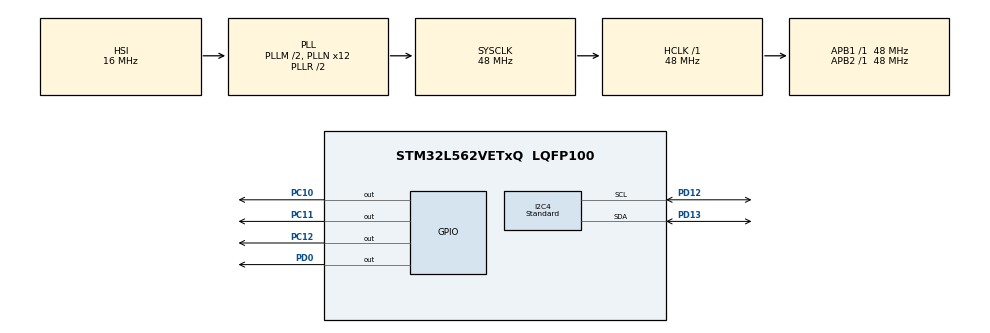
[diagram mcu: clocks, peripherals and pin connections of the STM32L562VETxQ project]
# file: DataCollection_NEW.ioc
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I2C4.I2C_Speed_Mode=I2C_Standard
I2C4.Timing=0x20303E5D
Mcu.Family=STM32L5
Mcu.Name=STM32L562VETxQ
Mcu.Package=LQFP100
NVIC.PriorityGroup=NVIC_PRIORITYGROUP_3
PA13\ (JTMS/SWDIO).Mode=Serial_Wire
PA13\ (JTMS/SWDIO).Signal=DEBUG_JTMS-SWDIO
PA14\ (JTCK/SWCLK).Mode=Serial_Wire
PA14\ (JTCK/SWCLK).Signal=DEBUG_JTCK-SWCLK
PC10.Signal=GPIO_Output
PC11.Signal=GPIO_Output
PC12.Signal=GPIO_Output
PD0.Signal=GPIO_Output
PD12.Mode=I2C
PD12.Signal=I2C4_SCL
PD13.Mode=I2C
PD13.Signal=I2C4_SDA
PH0-OSC_IN\ (PH0).Mode=HSE-External-Oscillator
PH0-OSC_IN\ (PH0).Signal=RCC_OSC_IN
PH1-OSC_OUT\ (PH1).Mode=HSE-External-Oscillator
PH1-OSC_OUT\ (PH1).Signal=RCC_OSC_OUT
ProjectManager.HeapSize=0x200
ProjectManager.StackSize=0x400
ProjectManager.TargetToolchain=STM32CubeIDE
RCC.ADCFreq_Value=64000000
RCC.AHBFreq_Value=48000000
RCC.APB1Freq_Value=48000000
RCC.APB1TimFreq_Value=48000000
RCC.APB2Freq_Value=48000000
RCC.APB2TimFreq_Value=48000000
RCC.CortexFreq_Value=48000000
RCC.HCLKFreq_Value=48000000
RCC.HSE_VALUE=32000000
RCC.HSI48_VALUE=48000000
RCC.HSI_VALUE=16000000
RCC.LSE_VALUE=32768
RCC.MSI_VALUE=4000000
RCC.PLLM=2
RCC.PLLN=12
RCC.PLLSAI1Source=RCC_PLLSAI1SOURCE_HSI
RCC.PLLSAI2Source=RCC_PLLSAI2SOURCE_HSI
RCC.PLLSourceVirtual=RCC_PLLSOURCE_HSI
RCC.SYSCLKFreq_VALUE=48000000
RCC.SYSCLKSource=RCC_SYSCLKSOURCE_PLLCLK
RCC.USBFreq_Value=64000000
RCC.VCOOutputFreq_Value=96000000
VP_PWR_VS_DBSignals.Mode=DisableDeadBatterySignals
VP_PWR_VS_SECSignals.Mode=Security/Privilege
board=custom

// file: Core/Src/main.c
/* USER CODE BEGIN Header */
/**
  ******************************************************************************
  * @file           : main.c
  * @brief          : Main program body
  ******************************************************************************
  * @attention
  *
  * Copyright (c) 2022 STMicroelectronics.
  * All rights reserved.
  *
  * This software is licensed under terms that can be found in the LICENSE file
  * in the root directory of this software component.
  * If no LICENSE file comes with this software, it is provided AS-IS.
  *
  ******************************************************************************
  */
/* USER CODE END Header */
#include "main.h"

 I2C_HandleTypeDef hi2c4;

void SystemClock_Config(void);
static void MX_GPIO_Init(void);
static void MX_I2C4_Init(void);

int main(void)
{
  /* USER CODE BEGIN 1 */

	HAL_StatusTypeDef i2c;
	const uint8_t MIC184_ADDR = 0x48 << 1;
	const uint8_t MIC184_CMD_REG = 0x01;
	const uint8_t MS5607_ADDR = 0x77 << 1;
	const uint8_t KX134_ADDR = 0x1E << 1;
	const uint8_t BNO055_ADDR = 0x28 << 1;

	uint8_t buf[1];
	uint8_t tmpBuf[3];
	uint8_t addr;
	uint8_t validAddr[20];
	uint8_t addrIndex = 0;

	/*
	HAL_StatusTypeDef i2c;
	uint8_t buf[1];
	const uint8_t BMP180_ADDR = 0x77 << 1; //7 bit addr?
	*/

  /* USER CODE END 1 */

  /* MCU Configuration--------------------------------------------------------*/

  /* Reset of all peripherals, Initializes the Flash interface and the Systick. */
  HAL_Init();

  /* Configure the system clock */
  SystemClock_Config();

  /* Initialize all configured peripherals */
  MX_GPIO_Init();
  MX_I2C4_Init();
  /* USER CODE BEGIN 2 */

  //Jank i2c scanner
  buf[0] = 0x00;
  i2c = HAL_I2C_Master_Transmit(&hi2c4, MIC184_ADDR, buf, 1, HAL_MAX_DELAY);
  i2c = HAL_I2C_Master_Transmit(&hi2c4, KX134_ADDR, buf, 1, HAL_MAX_DELAY);
  i2c = HAL_I2C_Master_Transmit(&hi2c4, BNO055_ADDR, buf, 1, HAL_MAX_DELAY);
  i2c = HAL_I2C_Master_Transmit(&hi2c4, MS5607_ADDR, buf, 1, HAL_MAX_DELAY);

  //initialize array to 0
  	  for (uint8_t i = 0; i < 20; i++){
  		  validAddr[i] = 0;
  	  }

  	  for (uint8_t i = 0; i < 127; i++){
  		  buf[0] = 0x00;
  		  uint8_t x = i << 1;
  		  i2c = HAL_I2C_Master_Transmit(&hi2c4, x, buf, 1, HAL_MAX_DELAY);
  		  HAL_Delay(1);
  		  if ((i2c != HAL_ERROR) && (addrIndex < 20)){
  			  validAddr[addrIndex] = i;
  			  addrIndex++;
  		  }
  	  }

  	  while (1){
  		;
  	  }

  /* USER CODE END 2 */

  /* Infinite loop */
  while (1)
  {

    /* USER CODE BEGIN 3 */

	  /*
	  HAL_GPIO_WritePin(GPIOC, GPIO_PIN_10, GPIO_PIN_SET);
	  //buf[0] = 0xD0;
	  //i2c = HAL_I2C_Master_Transmit(&hi2c4, BMP180_ADDR, buf, 1, HAL_MAX_DELAY);
	  //i2c = HAL_I2C_Master_Receive(&hi2c4, BMP180_ADDR, buf, 1, HAL_MAX_DELAY);

	  //send the command reg addr to the MIC184
	  tmpBuf[0] = 0x01;
	  i2c = HAL_I2C_Master_Transmit(&hi2c4, MIC184_ADDR, tmpBuf, 1, HAL_MAX_DELAY);
	  HAL_Delay(50);
	  i2c = HAL_I2C_Master_Receive(&hi2c4, MIC184_ADDR, tmpBuf, 2, HAL_MAX_DELAY);

	  //KX134-1211
	  //check WHOAMI register
	  tmpBuf[0] = 0x13;
	  i2c = HAL_I2C_Master_Transmit(&hi2c4, KX134_ADDR, tmpBuf, 1, HAL_MAX_DELAY);
	  i2c = HAL_I2C_Master_Receive(&hi2c4, KX134_ADDR, tmpBuf, 1, HAL_MAX_DELAY);

	  //MS5607
	  //reset the chip
	  tmpBuf[0] = 0x1E;
	  i2c = HAL_I2C_Master_Transmit(&hi2c4, MS5607_ADDR, tmpBuf, 1, HAL_MAX_DELAY);
	  HAL_Delay(50);
	  //start temp convert
	  tmpBuf[0] = 0x58;
	  i2c = HAL_I2C_Master_Transmit(&hi2c4, MS5607_ADDR, tmpBuf, 1, HAL_MAX_DELAY);
	  HAL_Delay(50);
	  //trigger ADC Read
	  tmpBuf[0] = 0x00;
	  i2c = HAL_I2C_Master_Transmit(&hi2c4, MS5607_ADDR, tmpBuf, 1, HAL_MAX_DELAY);
	  HAL_Delay(50);
	  i2c = HAL_I2C_Master_Receive(&hi2c4, MS5607_ADDR, tmpBuf, 3, HAL_MAX_DELAY);
	  */
	  /*
	  buf[0] = 0xD0; //chip ID reg
	  i2c = HAL_I2C_Master_Transmit(&hi2c4, BMP180_ADDR, buf, 1, HAL_MAX_DELAY);
	  i2c = HAL_I2C_Master_Receive(&hi2c4, BMP180_ADDR, buf, 1, HAL_MAX_DELAY);
	  HAL_Delay(500);
	  if (i2c == HAL_OK){
		  HAL_GPIO_WritePin(GPIOC, GPIO_PIN_10, GPIO_PIN_RESET);
	  }
	  HAL_Delay(500);
	  */
	  //HAL_GPIO_WritePin(GPIOC, GPIO_PIN_10, GPIO_PIN_RESET);
	  //HAL_Delay(50);

	  //HAL_GPIO_TogglePin(GPIOC, GPIO_PIN_11);
	  //HAL_Delay(100);
	 // HAL_GPIO_TogglePin(GPIOC, GPIO_PIN_10);
	  //HAL_GPIO_WritePin(GPIOC, GPIO_PIN_11, GPIO_PIN_SET);
	  //HAL_GPIO_WritePin(GPIOC, GPIO_PIN_10, GPIO_PIN_SET);

	  //Begin Jank Test Code
	  //start a pressure conversion
	  //MS5607_Pressure[0] = MS5607_D1_REG;
	  //i2c = HAL_I2C_Master_Transmit(&hi2c3, MS5607_ADDR, MS5607_Pressure, 1, HAL_MAX_DELAY); //transmit to start D1 4096 OSR convert
	  //if (i2c != HAL_OK){
		//  HAL_GPIO_WritePin(GPIOC, GPIO_PIN_12, GPIO_PIN_SET);
	  //}

	  //HAL_Delay(100);

	  //start an adc conversion
	  //MS5607_Pressure[0] = MS5607_ADC_REG;
	  //i2c = HAL_I2C_Master_Transmit(&hi2c4, MS5607_ADDR, MS5607_Pressure, 1, HAL_MAX_DELAY);
	  //if (i2c != HAL_OK){
		//  HAL_GPIO_WritePin(GPIOD, GPIO_PIN_0, GPIO_PIN_SET);
	  //}

	  //HAL_Delay(100);

	  //read 24 bit value
	  //i2c = HAL_I2C_Master_Receive(&hi2c4, MS5607_ADDR, MS5607_Pressure, 3, HAL_MAX_DELAY);

	  //End Jank Test Code
  }
  /* USER CODE END 3 */
}

void SystemClock_Config(void)
{
  RCC_OscInitTypeDef RCC_OscInitStruct = {0};
  RCC_ClkInitTypeDef RCC_ClkInitStruct = {0};

  /** Configure the main internal regulator output voltage
  */
  if (HAL_PWREx_ControlVoltageScaling(PWR_REGULATOR_VOLTAGE_SCALE1) != HAL_OK)
  {
    Error_Handler();
  }

  /** Initializes the RCC Oscillators according to the specified parameters
  * in the RCC_OscInitTypeDef structure.
  */
  RCC_OscInitStruct.OscillatorType = RCC_OSCILLATORTYPE_HSI;
  RCC_OscInitStruct.HSIState = RCC_HSI_ON;
  RCC_OscInitStruct.HSICalibrationValue = RCC_HSICALIBRATION_DEFAULT;
  RCC_OscInitStruct.PLL.PLLState = RCC_PLL_ON;
  RCC_OscInitStruct.PLL.PLLSource = RCC_PLLSOURCE_HSI;
  RCC_OscInitStruct.PLL.PLLM = 2;
  RCC_OscInitStruct.PLL.PLLN = 12;
  RCC_OscInitStruct.PLL.PLLP = RCC_PLLP_DIV7;
  RCC_OscInitStruct.PLL.PLLQ = RCC_PLLQ_DIV2;
  RCC_OscInitStruct.PLL.PLLR = RCC_PLLR_DIV2;
  if (HAL_RCC_OscConfig(&RCC_OscInitStruct) != HAL_OK)
  {
    Error_Handler();
  }

  /** Initializes the CPU, AHB and APB buses clocks
  */
  RCC_ClkInitStruct.ClockType = RCC_CLOCKTYPE_HCLK|RCC_CLOCKTYPE_SYSCLK
                              |RCC_CLOCKTYPE_PCLK1|RCC_CLOCKTYPE_PCLK2;
  RCC_ClkInitStruct.SYSCLKSource = RCC_SYSCLKSOURCE_PLLCLK;
  RCC_ClkInitStruct.AHBCLKDivider = RCC_SYSCLK_DIV1;
  RCC_ClkInitStruct.APB1CLKDivider = RCC_HCLK_DIV1;
  RCC_ClkInitStruct.APB2CLKDivider = RCC_HCLK_DIV1;

  if (HAL_RCC_ClockConfig(&RCC_ClkInitStruct, FLASH_LATENCY_2) != HAL_OK)
  {
    Error_Handler();
  }
}

static void MX_I2C4_Init(void)
{

  hi2c4.Instance = I2C4;
  hi2c4.Init.Timing = 0x20303E5D;
  hi2c4.Init.OwnAddress1 = 0;
  hi2c4.Init.AddressingMode = I2C_ADDRESSINGMODE_7BIT;
  hi2c4.Init.DualAddressMode = I2C_DUALADDRESS_DISABLE;
  hi2c4.Init.OwnAddress2 = 0;
  hi2c4.Init.OwnAddress2Masks = I2C_OA2_NOMASK;
  hi2c4.Init.GeneralCallMode = I2C_GENERALCALL_DISABLE;
  hi2c4.Init.NoStretchMode = I2C_NOSTRETCH_DISABLE;
  if (HAL_I2C_Init(&hi2c4) != HAL_OK)
  {
    Error_Handler();
  }

  /** Configure Analogue filter
  */
  if (HAL_I2CEx_ConfigAnalogFilter(&hi2c4, I2C_ANALOGFILTER_ENABLE) != HAL_OK)
  {
    Error_Handler();
  }

  /** Configure Digital filter
  */
  if (HAL_I2CEx_ConfigDigitalFilter(&hi2c4, 0) != HAL_OK)
  {
    Error_Handler();
  }

}

static void MX_GPIO_Init(void)
{
  GPIO_InitTypeDef GPIO_InitStruct = {0};

  /* GPIO Ports Clock Enable */
  __HAL_RCC_GPIOH_CLK_ENABLE();
  __HAL_RCC_GPIOD_CLK_ENABLE();
  __HAL_RCC_GPIOA_CLK_ENABLE();
  __HAL_RCC_GPIOC_CLK_ENABLE();

  /*Configure GPIO pin Output Level */
  HAL_GPIO_WritePin(GPIOC, GPIO_PIN_10|GPIO_PIN_11|GPIO_PIN_12, GPIO_PIN_RESET);

  /*Configure GPIO pin Output Level */
  HAL_GPIO_WritePin(GPIOD, GPIO_PIN_0, GPIO_PIN_RESET);

  /*Configure GPIO pins : PC10 PC11 PC12 */
  GPIO_InitStruct.Pin = GPIO_PIN_10|GPIO_PIN_11|GPIO_PIN_12;
  GPIO_InitStruct.Mode = GPIO_MODE_OUTPUT_PP;
  GPIO_InitStruct.Pull = GPIO_NOPULL;
  GPIO_InitStruct.Speed = GPIO_SPEED_FREQ_LOW;
  HAL_GPIO_Init(GPIOC, &GPIO_InitStruct);

  /*Configure GPIO pin : PD0 */
  GPIO_InitStruct.Pin = GPIO_PIN_0;
  GPIO_InitStruct.Mode = GPIO_MODE_OUTPUT_PP;
  GPIO_InitStruct.Pull = GPIO_NOPULL;
  GPIO_InitStruct.Speed = GPIO_SPEED_FREQ_LOW;
  HAL_GPIO_Init(GPIOD, &GPIO_InitStruct);

}

void Error_Handler(void)
{
  __disable_irq();
  while (1)
  {
  }
}
